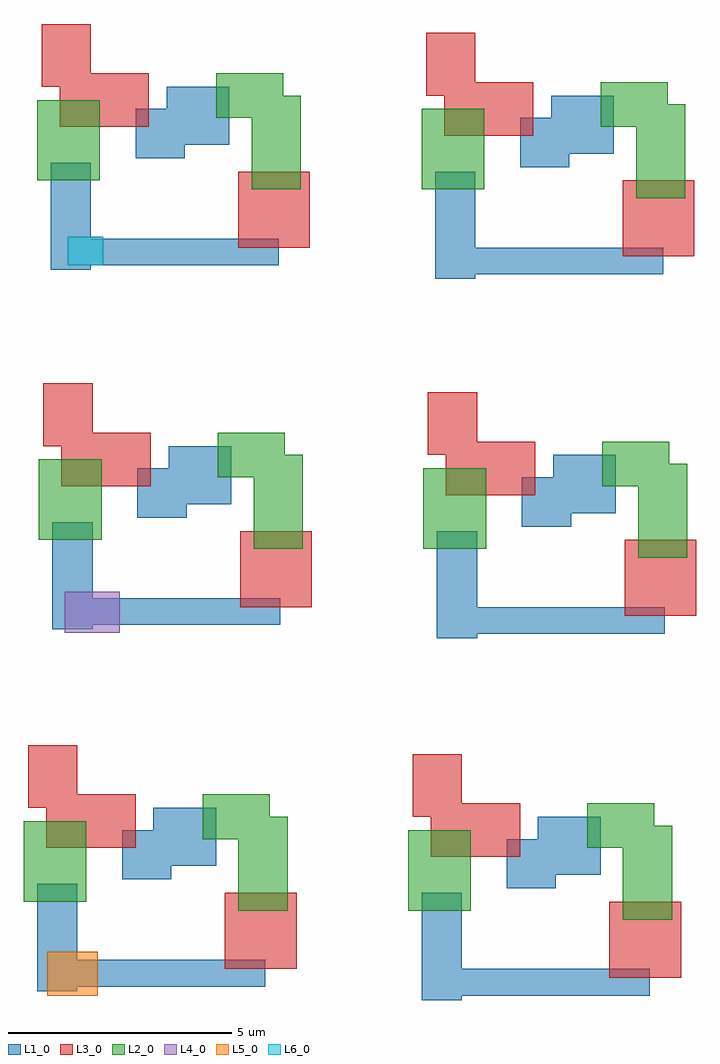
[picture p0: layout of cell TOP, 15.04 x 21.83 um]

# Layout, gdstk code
import gdstk
lib = gdstk.Library(unit=1e-6, precision=1e-09)
def R(c, l, rs):  # rectangles x0, y0, x1, y1
    for r in rs: c.add(gdstk.rectangle(r[:2], r[2:], *l))
L1_0 = (1, 0)
L2_0 = (2, 0)
L3_0 = (3, 0)
L4_0 = (4, 0)
L5_0 = (5, 0)
L6_0 = (6, 0)

c_c1 = lib.new_cell('C1')
R(c_c1, L1_0, [(-2.7,-3.3,-1.8,-0.9), (-2.1,-3.2,2.4,-2.6), (-0.8,-0.8,0.3,0.3), (-0.1,-0.5,1.3,0.8)])
R(c_c1, L2_0, [(1.8,-1.5,2.9,0.6), (-3,-1.3,-1.6,0.5), (1,0.1,2.5,1.1)])
R(c_c1, L3_0, [(1.5,-2.8,3.1,-1.1), (-2.5,-0.1,-0.5,1.1), (-2.9,0.8,-1.8,2.2)])

c_c2 = lib.new_cell('C2')
c_c2.add(gdstk.Reference(c_c1, (3,3.4)))
c_c2.add(gdstk.Reference(c_c1, (11.6,3.2)))

c_c4 = lib.new_cell('C4')
c_c4.add(gdstk.Reference(c_c2, (0,0.1)))

c_c3 = lib.new_cell('C3')
R(c_c3, L4_0, [(0.92,8.21,2.15,9.13)])
R(c_c3, L5_0, [(0.52,0.1,1.65,1.08)])
c_c3.add(gdstk.Reference(c_c2, (0,0.1)))
c_c3.add(gdstk.Reference(c_c2, (0.34,8.19)))

top = lib.new_cell('TOP')
R(top, L6_0, [(0.68,16.23,1.48,16.87)])
top.add(gdstk.Reference(c_c4, (0,15.93)))
top.add(gdstk.Reference(c_c3, (-0.3,-0.2)))

lib.write_gds('TOP.gds')
